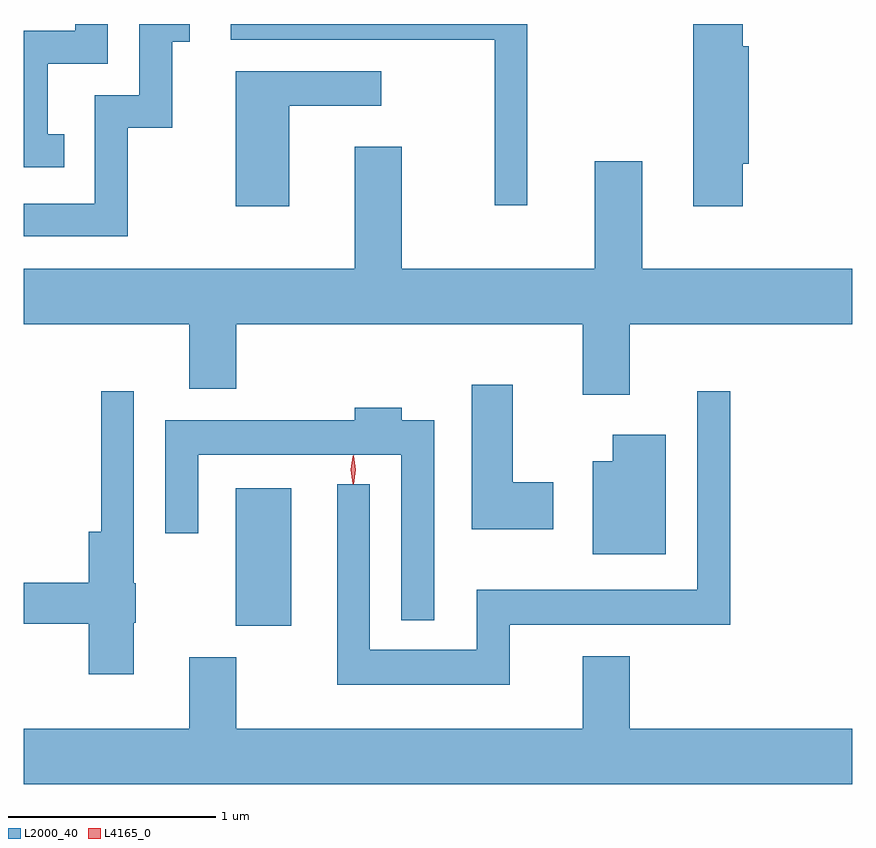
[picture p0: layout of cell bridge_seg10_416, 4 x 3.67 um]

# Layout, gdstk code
import gdstk
lib = gdstk.Library(unit=1e-6, precision=1e-09)
def R(c, l, rs):  # rectangles x0, y0, x1, y1
    for r in rs: c.add(gdstk.rectangle(r[:2], r[2:], *l))
def P(c, l, *ps):  # polygons
    for p in ps: c.add(gdstk.Polygon(p, *l))
L2000_40 = (2000, 40)
L4165_0 = (4165, 0)

bridge_seg10_416 = lib.new_cell('bridge_seg10_416')
R(bridge_seg10_416, L2000_40, [(1441.816,2092.481,1442.084,2093.144)])
P(bridge_seg10_416, L2000_40, [(1441.294,2094.886),(1441.509,2094.886),(1441.509,2095.301),(1441.593,2095.301),(1441.593,2095.387),(1441.351,2095.387),(1441.351,2095.044),(1441.136,2095.044),(1441.136,2094.519),(1440.793,2094.519),(1440.793,2094.361),(1441.294,2094.361)],
  [(1444.264,2094.711),(1444.294,2094.711),(1444.294,2095.279),(1444.264,2095.279),(1444.264,2095.387),(1444.026,2095.387),(1444.026,2094.506),(1444.264,2094.506)],
  [(1443.224,2095.387),(1441.793,2095.387),(1441.793,2095.311),(1443.066,2095.311),(1443.066,2094.512),(1443.224,2094.512)],
  [(1440.988,2094.854),(1440.909,2094.854),(1440.909,2095.196),(1441.199,2095.196),(1441.199,2095.387),(1441.041,2095.387),(1441.041,2095.354),(1440.793,2095.354),(1440.793,2094.696),(1440.988,2094.696)],
  [(1442.074,2094.991),(1442.518,2094.991),(1442.518,2095.159),(1441.816,2095.159),(1441.816,2094.506),(1442.074,2094.506)],
  [(1443.719,2093.936),(1444.793,2093.936),(1444.793,2094.204),(1443.779,2094.204),(1443.779,2094.724),(1443.551,2094.724),(1443.551,2094.204),(1442.619,2094.204),(1442.619,2094.794),(1442.391,2094.794),(1442.391,2094.204),(1440.793,2094.204),(1440.793,2093.936),(1441.591,2093.936),(1441.591,2093.626),(1441.819,2093.626),(1441.819,2093.936),(1443.491,2093.936),(1443.491,2093.596),(1443.719,2093.596)],
  [(1443.349,2093.174),(1443.154,2093.174),(1443.154,2093.644),(1442.956,2093.644),(1442.956,2092.946),(1443.349,2092.946)],
  [(1443.139,2092.486),(1444.204,2092.486),(1444.204,2093.613),(1444.046,2093.613),(1444.046,2092.654),(1442.981,2092.654),(1442.981,2092.364),(1442.464,2092.364),(1442.464,2093.163),(1442.306,2093.163),(1442.306,2092.196),(1443.139,2092.196)],
  [(1441.324,2092.495),(1441.334,2092.495),(1441.334,2092.685),(1441.324,2092.685),(1441.324,2093.613),(1441.166,2093.613),(1441.166,2092.934),(1441.106,2092.934),(1441.106,2092.689),(1440.793,2092.689),(1440.793,2092.491),(1441.106,2092.491),(1441.106,2092.246),(1441.324,2092.246)],
  [(1442.774,2093.474),(1442.619,2093.474),(1442.619,2093.534),(1442.391,2093.534),(1442.391,2093.474),(1441.476,2093.474),(1441.476,2092.928),(1441.634,2092.928),(1441.634,2093.306),(1442.616,2093.306),(1442.616,2092.508),(1442.774,2092.508)],
  [(1443.894,2093.404),(1443.636,2093.404),(1443.636,2093.274),(1443.541,2093.274),(1443.541,2092.826),(1443.894,2092.826)],
  [(1441.591,2092.329),(1441.591,2091.984),(1440.793,2091.984),(1440.793,2091.716),(1444.793,2091.716),(1444.793,2091.984),(1443.719,2091.984),(1443.719,2092.334),(1443.491,2092.334),(1443.491,2091.984),(1441.819,2091.984),(1441.819,2092.329)])
P(bridge_seg10_416, L4165_0, [(1442.384,2093.164),(1442.375,2093.233),(1442.384,2093.302),(1442.385,2093.303),(1442.386,2093.302),(1442.395,2093.233),(1442.386,2093.164),(1442.385,2093.164)],
  [(1442.382,2093.167),(1442.382,2093.167),(1442.372,2093.234),(1442.382,2093.3),(1442.382,2093.3),(1442.383,2093.3),(1442.392,2093.234),(1442.383,2093.167)])

lib.write_gds('bridge_seg10_416.gds')
